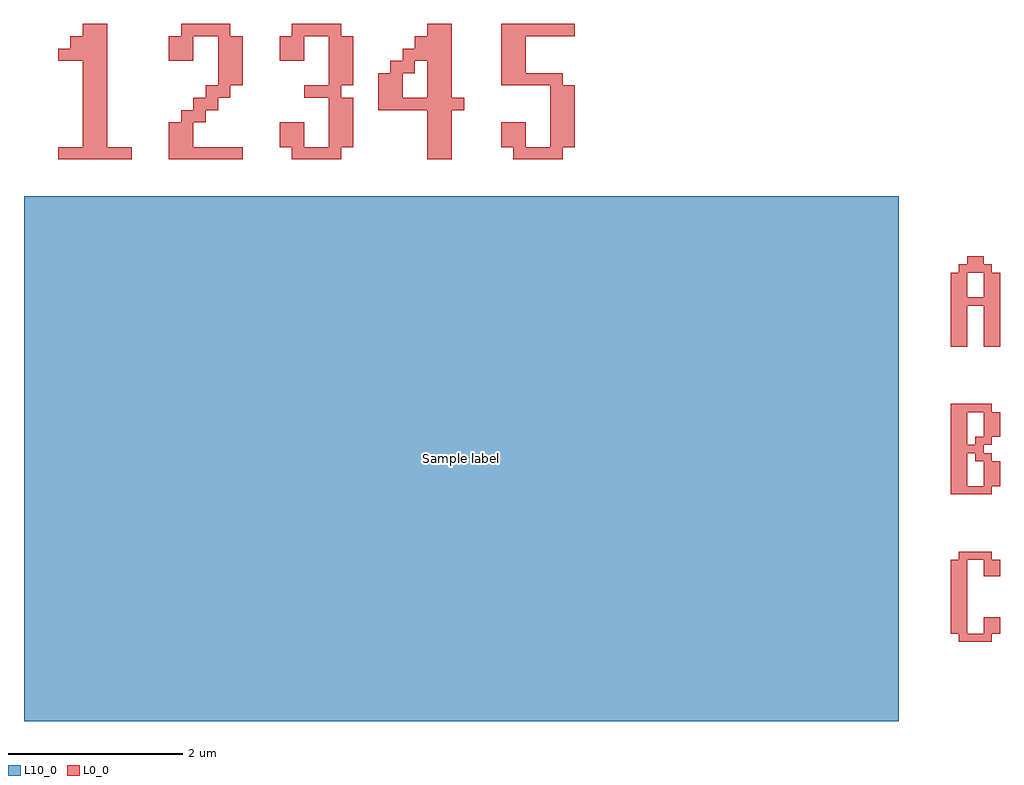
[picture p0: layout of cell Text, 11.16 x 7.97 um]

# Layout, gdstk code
import gdstk
lib = gdstk.Library(unit=1e-6, precision=1e-09)
def R(c, l, rs):  # rectangles x0, y0, x1, y1
    for r in rs: c.add(gdstk.rectangle(r[:2], r[2:], *l))
def P(c, l, *ps):  # polygons
    for p in ps: c.add(gdstk.Polygon(p, *l))
L0_0 = (0, 0)
L10_0 = (10, 0)

text = lib.new_cell('Text')
P(text, L0_0, [(0.531,7.687),(0.391,7.687),(0.391,7.547),(0.672,7.547),(0.672,6.562),(0.391,6.562),(0.391,6.422),(1.234,6.422),(1.234,6.562),(0.953,6.562),(0.953,7.969),(0.672,7.969),(0.672,7.828),(0.531,7.828)],
  [(1.656,7.547),(1.937,7.547),(1.937,7.828),(2.219,7.828),(2.219,7.266),(2.078,7.266),(2.078,7.125),(1.937,7.125),(1.937,6.984),(1.797,6.984),(1.797,6.844),(1.656,6.844),(1.656,6.422),(2.5,6.422),(2.5,6.562),(1.937,6.562),(1.937,6.844),(2.078,6.844),(2.078,6.984),(2.219,6.984),(2.219,7.125),(2.359,7.125),(2.359,7.266),(2.5,7.266),(2.5,7.828),(2.359,7.828),(2.359,7.969),(1.797,7.969),(1.797,7.828),(1.656,7.828)],
  [(3.062,6.562),(3.062,6.422),(3.625,6.422),(3.625,6.562),(3.766,6.562),(3.766,7.125),(3.625,7.125),(3.625,7.266),(3.766,7.266),(3.766,7.828),(3.625,7.828),(3.625,7.969),(3.062,7.969),(3.062,7.828),(2.922,7.828),(2.922,7.547),(3.203,7.547),(3.203,7.828),(3.484,7.828),(3.484,7.266),(3.203,7.266),(3.203,7.125),(3.484,7.125),(3.484,6.562),(3.203,6.562),(3.203,6.844),(2.922,6.844),(2.922,6.562)],
  [(4.891,6.422),(4.891,6.984),(5.031,6.984),(5.031,7.125),(4.891,7.125),(4.891,7.969),(4.609,7.969),(4.609,7.828),(4.469,7.828),(4.469,7.687),(4.328,7.687),(4.328,7.547),(4.187,7.547),(4.187,7.406),(4.047,7.406),(4.047,7.125),(4.328,7.125),(4.328,7.406),(4.469,7.406),(4.469,7.547),(4.609,7.547),(4.609,7.125),(4.328,7.125),(4.047,7.125),(4.047,6.984),(4.609,6.984),(4.609,6.422)],
  [(5.594,6.562),(5.594,6.422),(6.156,6.422),(6.156,6.562),(6.297,6.562),(6.297,7.266),(6.156,7.266),(6.156,7.406),(5.734,7.406),(5.734,7.828),(6.297,7.828),(6.297,7.969),(5.453,7.969),(5.453,7.266),(6.016,7.266),(6.016,6.562),(5.734,6.562),(5.734,6.844),(5.453,6.844),(5.453,6.562)],
  [(10.781,4.281),(10.781,4.75),(10.969,4.75),(10.969,4.281),(11.156,4.281),(11.156,5.125),(11.062,5.125),(11.062,5.219),(10.969,5.219),(10.969,5.312),(10.781,5.312),(10.781,5.219),(10.687,5.219),(10.687,5.125),(10.594,5.125),(10.594,4.844),(10.781,4.844),(10.781,5.125),(10.969,5.125),(10.969,4.844),(10.781,4.844),(10.594,4.844),(10.594,4.281)],
  [(11.156,2.969),(11.062,2.969),(11.062,3.062),(10.969,3.062),(10.969,3.156),(11.062,3.156),(11.062,3.25),(11.156,3.25),(11.156,3.531),(11.062,3.531),(11.062,3.625),(10.594,3.625),(10.594,3.156),(10.781,3.156),(10.781,3.531),(10.969,3.531),(10.969,3.25),(10.875,3.25),(10.875,3.156),(10.781,3.156),(10.594,3.156),(10.594,2.687),(10.781,2.687),(10.781,3.062),(10.875,3.062),(10.875,2.969),(10.969,2.969),(10.969,2.687),(10.781,2.687),(10.594,2.687),(10.594,2.594),(11.062,2.594),(11.062,2.687),(11.156,2.687)],
  [(10.594,1),(10.687,1),(10.687,0.906),(11.062,0.906),(11.062,1),(11.156,1),(11.156,1.187),(10.969,1.187),(10.969,1),(10.781,1),(10.781,1.844),(10.969,1.844),(10.969,1.656),(11.156,1.656),(11.156,1.844),(11.062,1.844),(11.062,1.937),(10.687,1.937),(10.687,1.844),(10.594,1.844)])
R(text, L10_0, [(0,0,10,6)])
text.add(gdstk.Label('Sample label', (5,3), layer=0, texttype=2))

lib.write_gds('Text.gds')
